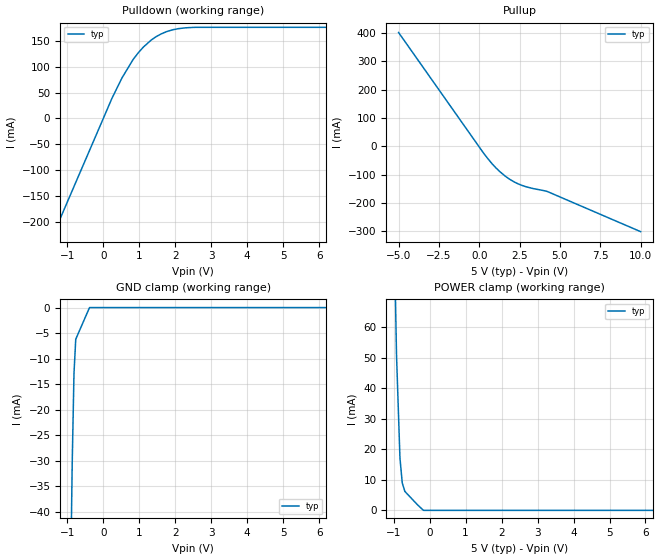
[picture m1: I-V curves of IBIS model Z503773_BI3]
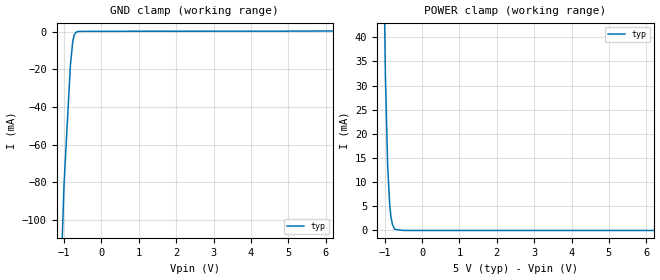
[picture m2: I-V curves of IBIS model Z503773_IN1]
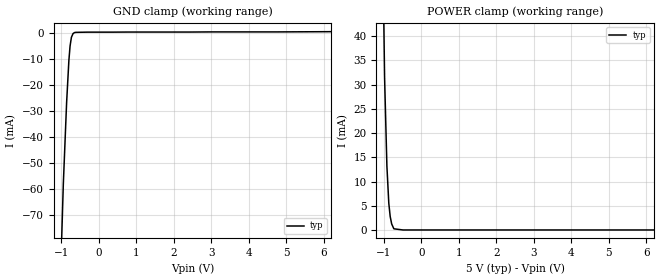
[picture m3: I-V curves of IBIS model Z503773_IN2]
| YOU ARE ONLY AUTHORIZED TO USE THIS SOFTWARE
| ACCORDING TO LICENSOR'S LICENSE RESTRICTIONS.
[IBIS Ver] 3.1
[File Name] mc74ac299dw_5.ibs
[File Rev] 2.0
[Source] Measured and created by ICX Technology
[Date] Friday 7/14/00 9:07:59 AM
[Copyright]
| (C) COPYRIGHT 1993-2000
| MENTOR GRAPHICS CORPORATION
| ICX STANDARD LIBRARY, ICX PROJECT MODELING,
| ICX CUSTOM MODELING, ICX VENDOR MODEL
| ALL RIGHTS RESERVED.
| THE FOLLOWING ARE TRADEMARKS OR SERVICE MARKS OF
| MENTOR GRAPHICS CORPORATION:ICX (R), ICX STANDARD
| LIBRARY(R), ICX PROJECT MODELING(R), ICX CUSTOM
| MODELING(R), qualityIBIS(TM), MODELVIEWER(TM),
| AND MODELEDITOR(TM)
| ALL COPIES OF SOFTWARE, INCLUDING BUT NOT LIMITED TO
| ANY MODIFICATIONS, ENHANCEMENTS OR DERIVATIVE WORKS,
| MUST CONTAIN ALL MENTOR GRAPHICS CORPORATION'S
| NOTICES AND LEGENDS, INCLUDING THOSE EMBEDDED IN
| SOFTWARE AND THOSE AFFIXED TO SOFTWARE MEDIUM
| AND CONTAINER, AS RECEIVED FROM MENTOR GRAPHICS
| CORPORATION.
|  ZAP Model Builder 2.7
[Component] MC74AC299DW_5
[Manufacturer] OnSemiconductor
[Package]
| variable   typ   min   max
R_pkg  .178ohms NA NA
L_pkg  4.43nH NA NA
C_pkg  .62pF NA NA
[Pin] signal_name  model_name  R_pin  L_pin C_pin
1 S0 Z503773_IN1 .186 5.37n .68p
2 _G1 Z503773_IN2 .182 4.89n .65p
3 _G2 Z503773_IN2 .178 4.42n .62p
4 G_QG Z503773_BI3 .174 3.96n .59p
5 E_QE Z503773_BI3 .17 3.51n .56p
6 C_QC Z503773_BI3 .17 3.51n .56p
7 A_QA Z503773_BI3 .174 3.96n .59p
8 QAP Z503773_OUT4 .178 4.42n .62p
9 _CLR Z503773_IN5 .182 4.89n .65p
10 GROUND GND .186 5.37n .68p
11 SR Z503773_IN6 .186 5.37n .68p
12 CLK Z503773_IN7 .182 4.89n .65p
13 B_QB Z503773_BI3 .178 4.42n .62p
14 D_QD Z503773_BI3 .174 3.96n .59p
15 F_QF Z503773_BI3 .17 3.51n .56p
16 H_QH Z503773_BI3 .17 3.51n .56p
17 QH Z503773_OUT4 .174 3.96n .59p
18 SL Z503773_IN6 .178 4.42n .62p
19 S1 Z503773_IN1 .182 4.89n .65p
20 VCC POWER .186 5.37n .68p
| Models and submodels in the file (7): Z503773_BI3 (I/O), Z503773_IN1 (Input), Z503773_IN2 (Input), Z503773_IN5 (Input), Z503773_IN6 (Input), Z503773_IN7 (Input), Z503773_OUT4 (Output)
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| (C) COPYRIGHT 1993-2000
| MENTOR GRAPHICS CORPORATION
| ICX STANDARD LIBRARY, ICX PROJECT MODELING,
| ICX CUSTOM MODELING, ICX VENDOR MODEL
| ALL RIGHTS RESERVED.
| THE FOLLOWING ARE TRADEMARKS OR SERVICE MARKS OF
| MENTOR GRAPHICS CORPORATION:ICX (R), ICX STANDARD
| LIBRARY(R), ICX PROJECT MODELING(R), ICX CUSTOM
| MODELING(R), qualityIBIS(TM), MODELVIEWER(TM),
| AND MODELEDITOR(TM)
| ALL COPIES OF SOFTWARE, INCLUDING BUT NOT LIMITED TO
| ANY MODIFICATIONS, ENHANCEMENTS OR DERIVATIVE WORKS,
| MUST CONTAIN ALL MENTOR GRAPHICS CORPORATION'S
| NOTICES AND LEGENDS, INCLUDING THOSE EMBEDDED IN
| SOFTWARE AND THOSE AFFIXED TO SOFTWARE MEDIUM
| AND CONTAINER, AS RECEIVED FROM MENTOR GRAPHICS
| CORPORATION.
| Model Application Version 1.89 2/18/99.
[Model] Z503773_BI3
Model_type I/O
Vinl=1.500V
Vinh=3.500V
Vref=0.000V
Rref=500.0ohms
Cref=50.00pF
Vmeas=2.500V
C_comp 8.000pF NA NA
| variable typ   min   max
[Voltage Range] 5.000V NA NA
[POWER Clamp Reference] 5.000V NA NA
[Pullup Reference] 5.000V NA NA
[Pulldown Reference] 0.000V NA NA
[GND Clamp Reference] 0.000V NA NA
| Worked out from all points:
|   slope of the pulldown table from 0 to 0.75 V, typ, clamps not added: 7.16 ohm
|   slope of the pullup table from 0 to 0.75 V, typ, clamps not added: 13.4 ohm
|   POWER clamp passes 1 mA (typ) near -0.26 V on its own axis
[GND Clamp]
-5V       -1.778A    NA         NA
-1.037V   -118.7mA   NA         NA
-865mV    -30.58mA   NA         NA
-815.3mV  -12.9mA    NA         NA
-766.9mV  -6.209mA   NA         NA
-383.5mV  0A         NA         NA
10V       0A         NA         NA
[Pulldown]
-5V       -806.8mA   NA         NA
244.3mV   39.48mA    NA         NA
523mV     78.74mA    NA         NA
821.1mV   113mA      NA         NA
967.2mV   126.4mA    NA         NA
1.115V    137.9mA    NA         NA
1.34V     151.8mA    NA         NA
1.606V    163.1mA    NA         NA
1.762V    167.7mA    NA         NA
2.096V    173.4mA    NA         NA
2.552V    175.9mA    NA         NA
10V       175.9mA    NA         NA
[Pullup]
-5V       401.8mA    NA         NA
238mV     -21.79mA   NA         NA
1.018V    -75.34mA   NA         NA
1.607V    -105.3mA   NA         NA
2.414V    -132.8mA   NA         NA
2.907V    -143mA     NA         NA
4.208V    -159.4mA   NA         NA
10V       -301.4mA   NA         NA
[POWER Clamp]
-5V       3.221A     NA         NA
-1.079V   149.8mA    NA         NA
-922mV    51.18mA    NA         NA
-826mV    17.16mA    NA         NA
-762mV    8.999mA    NA         NA
-689mV    6.213mA    NA         NA
-347mV    1.94mA     NA         NA
-173.5mV  0A         NA         NA
10V       0A         NA         NA
[Ramp]
| variable typ min max
dV/dt_r 2.946/418.1p NA NA
dV/dt_f 2.946/485.2p NA NA
R_load = 500.0Ohms
| (C) COPYRIGHT 1993-2000
| MENTOR GRAPHICS CORPORATION
| ICX STANDARD LIBRARY, ICX PROJECT MODELING,
| ICX CUSTOM MODELING, ICX VENDOR MODEL
| ALL RIGHTS RESERVED.
| THE FOLLOWING ARE TRADEMARKS OR SERVICE MARKS OF
| MENTOR GRAPHICS CORPORATION:ICX (R), ICX STANDARD
| LIBRARY(R), ICX PROJECT MODELING(R), ICX CUSTOM
| MODELING(R), qualityIBIS(TM), MODELVIEWER(TM),
| AND MODELEDITOR(TM)
| ALL COPIES OF SOFTWARE, INCLUDING BUT NOT LIMITED TO
| ANY MODIFICATIONS, ENHANCEMENTS OR DERIVATIVE WORKS,
| MUST CONTAIN ALL MENTOR GRAPHICS CORPORATION'S
| NOTICES AND LEGENDS, INCLUDING THOSE EMBEDDED IN
| SOFTWARE AND THOSE AFFIXED TO SOFTWARE MEDIUM
| AND CONTAINER, AS RECEIVED FROM MENTOR GRAPHICS
| CORPORATION.
| Model Application Version 1.89 2/18/99.
[Model] Z503773_IN1
Model_type Input
Vinl = 1.500V
Vinh = 3.500V
C_comp 4.000pF NA NA
| variable typ   min   max
[Voltage Range] 5.000V NA NA
[GND Clamp Reference] 0.000V NA NA
[POWER Clamp Reference] 5.000V NA NA
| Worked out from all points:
|   GND clamp passes 1 mA (typ) near -0.70 V on its own axis
|   POWER clamp passes 1 mA (typ) near -0.78 V on its own axis
[GND Clamp]
-5V       -3.107A    NA         NA
-1.074V   -126.2mA   NA         NA
-999.5mV  -81.3mA    NA         NA
-830mV    -18.22mA   NA         NA
-766.2mV  -5.159mA   NA         NA
-730.2mV  -1.806mA   NA         NA
-667.2mV  -131.4uA   NA         NA
10V       603.5uA    NA         NA
[POWER Clamp]
-5V       4.141A     NA         NA
-1.25V    225.7mA    NA         NA
-1.104V   101.8mA    NA         NA
-979mV    31.83mA    NA         NA
-918mV    13.31mA    NA         NA
-866mV    5.526mA    NA         NA
-830mV    2.789mA    NA         NA
-791mV    1.26mA     NA         NA
-732mV    238.4uA    NA         NA
-488mV    0A         NA         NA
10V       0A         NA         NA
| (C) COPYRIGHT 1993-2000
| MENTOR GRAPHICS CORPORATION
| ICX STANDARD LIBRARY, ICX PROJECT MODELING,
| ICX CUSTOM MODELING, ICX VENDOR MODEL
| ALL RIGHTS RESERVED.
| THE FOLLOWING ARE TRADEMARKS OR SERVICE MARKS OF
| MENTOR GRAPHICS CORPORATION:ICX (R), ICX STANDARD
| LIBRARY(R), ICX PROJECT MODELING(R), ICX CUSTOM
| MODELING(R), qualityIBIS(TM), MODELVIEWER(TM),
| AND MODELEDITOR(TM)
| ALL COPIES OF SOFTWARE, INCLUDING BUT NOT LIMITED TO
| ANY MODIFICATIONS, ENHANCEMENTS OR DERIVATIVE WORKS,
| MUST CONTAIN ALL MENTOR GRAPHICS CORPORATION'S
| NOTICES AND LEGENDS, INCLUDING THOSE EMBEDDED IN
| SOFTWARE AND THOSE AFFIXED TO SOFTWARE MEDIUM
| AND CONTAINER, AS RECEIVED FROM MENTOR GRAPHICS
| CORPORATION.
| Model Application Version 1.89 2/18/99.
[Model] Z503773_IN2
Model_type Input
Vinl = 1.500V
Vinh = 3.500V
C_comp 4.000pF NA NA
| variable typ   min   max
[Voltage Range] 5.000V NA NA
[GND Clamp Reference] 0.000V NA NA
[POWER Clamp Reference] 5.000V NA NA
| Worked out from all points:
|   GND clamp passes 1 mA (typ) near -0.71 V on its own axis
|   POWER clamp passes 1 mA (typ) near -0.78 V on its own axis
[GND Clamp]
-5V       -3.173A    NA         NA
-1.025V   -95.38mA   NA         NA
-947mV    -58.3mA    NA         NA
-859.3mV  -26.99mA   NA         NA
-798.1mV  -10.62mA   NA         NA
-766.3mV  -5.097mA   NA         NA
-730.4mV  -1.781mA   NA         NA
-687.3mV  -381uA     NA         NA
-648.2mV  16.16uA    NA         NA
10V       610.9uA    NA         NA
[POWER Clamp]
-5V       4.197A     NA         NA
-1.289V   261.5mA    NA         NA
-1.104V   101.5mA    NA         NA
-980mV    31.59mA    NA         NA
-918mV    13.21mA    NA         NA
-867mV    5.49mA     NA         NA
-830mV    2.774mA    NA         NA
-791mV    1.255mA    NA         NA
-732mV    240.9uA    NA         NA
-488mV    0A         NA         NA
10V       0A         NA         NA
